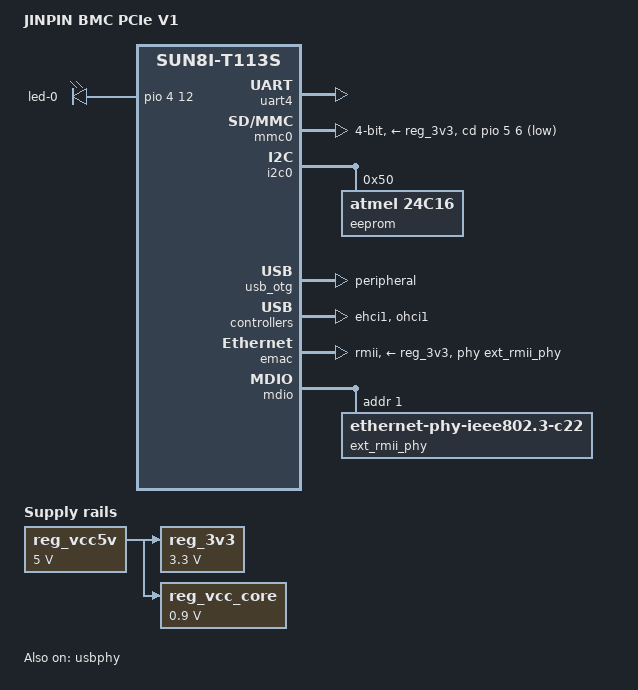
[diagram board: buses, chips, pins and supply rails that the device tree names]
// SPDX-License-Identifier: (GPL-2.0+ OR MIT)
/*
* Copyright (C) 2024 Arm Ltd.
*/

/dts-v1/;

#include "sun8i-t113s.dtsi"
#include "sunxi-common-regulators.dtsi"

#include <dt-bindings/gpio/gpio.h>
#include <dt-bindings/leds/common.h>

/ {
	model = "JINPIN BMC PCIe V1";
	compatible = "nekocloud,jinpin-bmc-pcie-v1", "allwinner,sun8i-t113s";
	
	aliases {
		serial4 = &uart4;
		ethernet0 = &emac;
	};
	
	chosen {
		stdout-path = "serial4:115200n8";
	};
	
	leds {
		compatible = "gpio-leds";
		
		led-0 {
			gpios = <&pio 4 12 GPIO_ACTIVE_HIGH>; /* PE12 */
			linux,default-trigger = "heartbeat";
		};
	};
	
	reg_vcc5v: regulator-5v {
		compatible = "regulator-fixed";
		regulator-name = "vcc-5v";
		regulator-min-microvolt = <5000000>;
		regulator-max-microvolt = <5000000>;
		regulator-always-on;
	};
	
	reg_3v3: regulator-3v3 {
		compatible = "regulator-fixed";
		regulator-name = "vcc-3v3";
		regulator-min-microvolt = <3300000>;
		regulator-max-microvolt = <3300000>;
		vin-supply = <&reg_vcc5v>;
	};
	
	reg_vcc_core: regulator-core {
		compatible = "regulator-fixed";
		regulator-name = "vcc-core";
		regulator-min-microvolt = <900000>;
		regulator-max-microvolt = <900000>;
		vin-supply = <&reg_vcc5v>;
	};
};

&dcxo {
	clock-frequency = <24000000>;
};

&cpu0 {
	cpu-supply = <&reg_vcc_core>;
};

&cpu1 {
	cpu-supply = <&reg_vcc_core>;
};

&pio {
	vcc-pb-supply = <&reg_3v3>;
	vcc-pd-supply = <&reg_3v3>;
	vcc-pe-supply = <&reg_3v3>;
	vcc-pf-supply = <&reg_3v3>;
	vcc-pg-supply = <&reg_3v3>;
};

&uart4 {
	pinctrl-names = "default";
	pinctrl-0 = <&uart4_pd_pins>;
	status = "okay";
};

&mmc0 {
	pinctrl-names = "default";
	pinctrl-0 = <&mmc0_pins>;
	vmmc-supply = <&reg_3v3>;
	cd-gpios = <&pio 5 6 GPIO_ACTIVE_LOW>;
	bus-width = <4>;
	status = "okay";
};

&i2c0 {
	pinctrl-names = "default";
	pinctrl-0 = <&i2c0_pg_pins>;
	status = "okay";
	
	eeprom: eeprom@50 {
		compatible = "atmel,24c16";
		reg = <0x50>;
		pagesize = <16>;
		sec-data;
		status = "okay";
	};
};

&usb_otg {
	dr_mode = "peripheral";
	status = "okay";
};

&usbphy {
	status = "okay";
};

&ehci1 {
	status = "okay";
};

&ohci1 {
	status = "okay";
};

&emac {
	pinctrl-names = "default";
	pinctrl-0 = <&rmii_pe_pins>;
	phy-supply = <&reg_3v3>;
	phy-handle = <&ext_rmii_phy>;
	phy-mode = "rmii";
	status = "okay";
};

&mdio {
	ext_rmii_phy: ethernet-phy@1 {
		compatible = "ethernet-phy-ieee802.3-c22";
		reg = <1>;
	};
};
